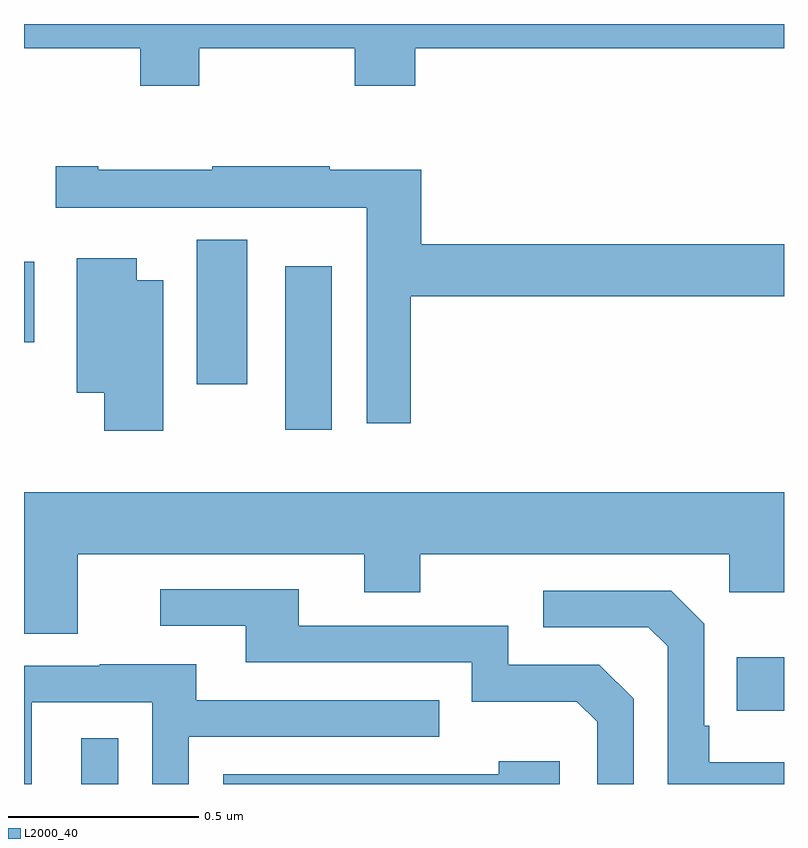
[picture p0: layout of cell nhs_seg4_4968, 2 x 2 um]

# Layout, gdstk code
import gdstk
lib = gdstk.Library(unit=1e-6, precision=1e-09)
def R(c, l, rs):  # rectangles x0, y0, x1, y1
    for r in rs: c.add(gdstk.rectangle(r[:2], r[2:], *l))
def P(c, l, *ps):  # polygons
    for p in ps: c.add(gdstk.Polygon(p, *l))
L2000_40 = (2000, 40)

nhs_seg4_4968 = lib.new_cell('nhs_seg4_4968')
R(nhs_seg4_4968, L2000_40, [(172.151,778.9,172.248,779.02), (173.875,779.093,174,779.233), (172.688,779.832,172.81,780.262), (172.454,779.952,172.588,780.332), (172,780.062,172.027,780.274)])
P(nhs_seg4_4968, L2000_40, [(172.461,780.836),(172.87,780.836),(172.87,780.737),(173.03,780.737),(173.03,780.836),(174,780.836),(174,780.9),(172,780.9),(172,780.836),(172.306,780.836),(172.306,780.737),(172.461,780.737)],
  [(173.018,780.184),(174,780.184),(174,780.32),(173.045,780.32),(173.045,780.516),(172.805,780.516),(172.805,780.526),(172.495,780.526),(172.495,780.516),(172.195,780.516),(172.195,780.526),(172.083,780.526),(172.083,780.416),(172.358,780.416),(172.358,780.417),(172.692,780.417),(172.692,780.416),(172.902,780.416),(172.902,779.85),(173.018,779.85)],
  [(172.366,780.226),(172.297,780.226),(172.297,780.283),(172.139,780.283),(172.139,779.93),(172.211,779.93),(172.211,779.829),(172.366,779.829)],
  [(172.141,779.504),(172.895,779.504),(172.895,779.405),(173.043,779.405),(173.043,779.504),(173.856,779.504),(173.856,779.405),(174,779.405),(174,779.668),(172,779.668),(172,779.504),(172.001,779.504),(172.001,779.296),(172.141,779.296)],
  [(173.604,779.124),(173.514,779.214),(173.274,779.214),(173.274,779.316),(172.723,779.316),(172.723,779.412),(172.359,779.412),(172.359,779.316),(172.583,779.316),(172.583,779.22),(173.178,779.22),(173.178,779.117),(173.455,779.117),(173.508,779.064),(173.508,778.9),(173.604,778.9)],
  [(174,778.957),(173.803,778.957),(173.803,779.053),(173.79,779.053),(173.79,779.322),(173.703,779.409),(173.367,779.409),(173.367,779.313),(173.643,779.313),(173.694,779.262),(173.694,778.9),(174,778.9)],
  [(172.02,779.115),(172.338,779.115),(172.338,778.9),(172.434,778.9),(172.434,779.025),(173.093,779.025),(173.093,779.121),(172.453,779.121),(172.453,779.215),(172.199,779.215),(172.199,779.211),(172,779.211),(172,778.9),(172.02,778.9)],
  [(173.41,778.96),(173.249,778.96),(173.249,778.926),(172.524,778.926),(172.524,778.9),(173.41,778.9)])

lib.write_gds('nhs_seg4_4968.gds')
